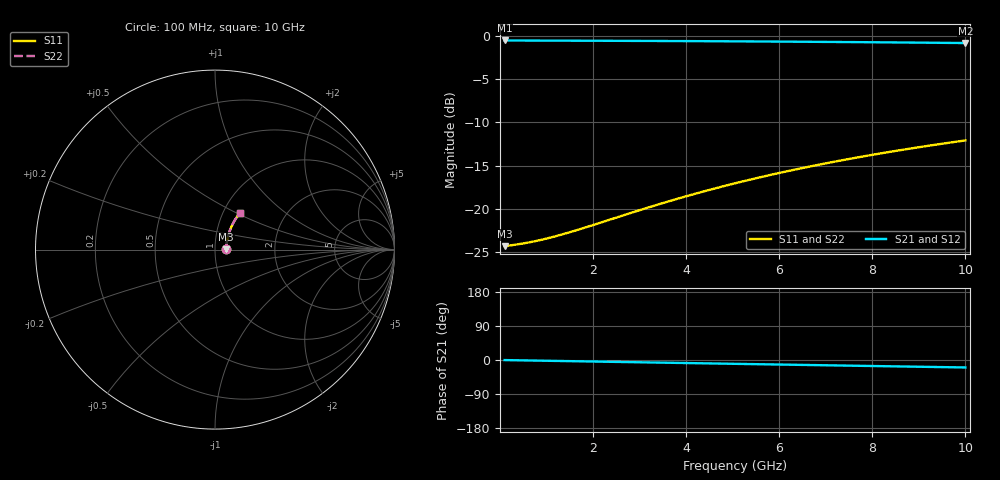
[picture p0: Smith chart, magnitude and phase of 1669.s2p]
# Hz S RI R 50.00
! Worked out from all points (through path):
!   100 points, 100 MHz to 10 GHz, reference 50 ohm
!   highest |S21| = -0.55 dB at 100 MHz (marker M1); lowest = -0.8 dB at 10 GHz (marker M2)
!   group delay of S21, straight-line fit = 5.48 ps
!   lowest |S11| = -24.3 dB at 100 MHz (marker M3), VSWR 1.13, Z = 56.5 + j0.261 ohm
!   |S11| at or under -10 dB: start of sweep to end of sweep
!   |S22| runs from -24.3 to -12.1 dB; largest |S21 - S12| = 0
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1e8  0.0611 0.0023  0.9389 -0.0033  0.9389 -0.0033  0.0611 0.0023
5e8  0.0623 0.0115  0.9377 -0.0165  0.9377 -0.0165  0.0623 0.0115
7e8  0.0628 0.0161  0.9371 -0.0231  0.9371 -0.0231  0.0628 0.0161
9e8  0.0633 0.0206  0.9366 -0.0296  0.9366 -0.0296  0.0633 0.0206
1.1e9  0.0639 0.0252  0.936 -0.0362  0.936 -0.0362  0.0639 0.0252
1.3e9  0.0645 0.0297  0.9354 -0.0427  0.9354 -0.0427  0.0645 0.0297
1.8e9  0.0661 0.0411  0.9337 -0.0591  0.9337 -0.0591  0.0661 0.0411
2.9e9  0.0709 0.0657  0.9287 -0.0947  0.9287 -0.0947  0.0709 0.0657
3.4e9  0.0736 0.0767  0.9258 -0.1107  0.9258 -0.1107  0.0736 0.0767
3.9e9  0.0767 0.0876  0.9225 -0.1266  0.9225 -0.1266  0.0767 0.0876
4.3e9  0.0794 0.0963  0.9196 -0.1393  0.9196 -0.1393  0.0794 0.0963
4.7e9  0.0823 0.1048  0.9165 -0.1518  0.9165 -0.1518  0.0823 0.1048
5.1e9  0.0855 0.1132  0.9131 -0.1642  0.9131 -0.1642  0.0855 0.1132
5.5e9  0.0889 0.1215  0.9095 -0.1766  0.9095 -0.1766  0.0889 0.1215
5.9e9  0.0925 0.1297  0.9057 -0.1888  0.9057 -0.1888  0.0925 0.1297
6.3e9  0.0963 0.1378  0.9016 -0.2008  0.9016 -0.2008  0.0963 0.1378
6.7e9  0.1003 0.1457  0.8973 -0.2128  0.8973 -0.2128  0.1003 0.1457
7.5e9  0.109 0.1612  0.8881 -0.2363  0.8881 -0.2363  0.109 0.1612
7.9e9  0.1136 0.1687  0.8832 -0.2478  0.8832 -0.2478  0.1136 0.1687
8.4e9  0.1196 0.1779  0.8767 -0.262  0.8767 -0.262  0.1196 0.1779
9.2e9  0.1298 0.192  0.8658 -0.2842  0.8658 -0.2842  0.1298 0.192
1e10  0.1406 0.2055  0.8542 -0.3057  0.8542 -0.3057  0.1406 0.2055
